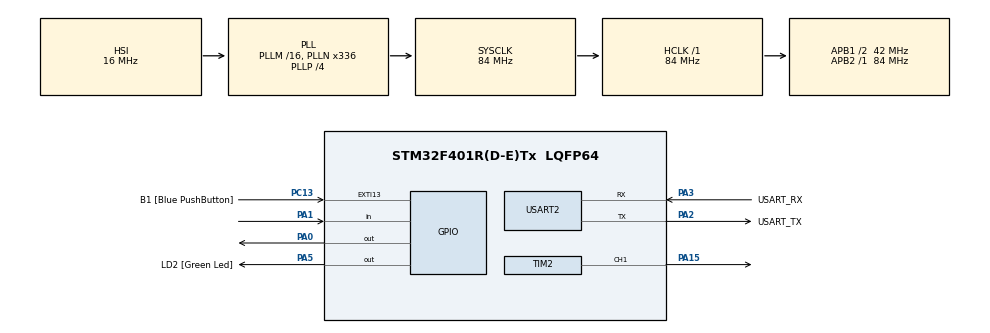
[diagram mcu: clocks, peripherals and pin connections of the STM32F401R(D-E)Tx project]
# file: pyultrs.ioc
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Mcu.Family=STM32F4
Mcu.Name=STM32F401R(D-E)Tx
Mcu.Package=LQFP64
NVIC.PriorityGroup=NVIC_PRIORITYGROUP_0
NVIC.TIM2_IRQn=true\:0\:0\:false\:false\:true\:true\:true\:true
PA0-WKUP.Signal=GPIO_Output
PA1.Signal=GPIO_Input
PA13.GPIO_Label=TMS
PA13.Mode=Serial_Wire
PA13.Signal=SYS_JTMS-SWDIO
PA14.GPIO_Label=TCK
PA14.Mode=Serial_Wire
PA14.Signal=SYS_JTCK-SWCLK
PA15.Signal=S_TIM2_CH1_ETR
PA2.GPIO_Label=USART_TX
PA2.GPIO_Mode=GPIO_MODE_AF_PP
PA2.GPIO_PuPd=GPIO_NOPULL
PA2.GPIO_Speed=GPIO_SPEED_FREQ_LOW
PA2.Mode=Asynchronous
PA2.Signal=USART2_TX
PA3.GPIO_Label=USART_RX
PA3.GPIO_Mode=GPIO_MODE_AF_PP
PA3.GPIO_PuPd=GPIO_NOPULL
PA3.GPIO_Speed=GPIO_SPEED_FREQ_LOW
PA3.Mode=Asynchronous
PA3.Signal=USART2_RX
PA5.GPIO_Label=LD2 [Green Led]
PA5.GPIO_Mode=GPIO_MODE_OUTPUT_PP
PA5.GPIO_PuPd=GPIO_NOPULL
PA5.GPIO_Speed=GPIO_SPEED_FREQ_LOW
PA5.Signal=GPIO_Output
PB3.GPIO_Label=SWO
PB3.Signal=SYS_JTDO-SWO
PC13-ANTI_TAMP.GPIO_Label=B1 [Blue PushButton]
PC13-ANTI_TAMP.GPIO_ModeDefaultEXTI=GPIO_MODE_IT_FALLING
PC13-ANTI_TAMP.GPIO_PuPd=GPIO_NOPULL
PC13-ANTI_TAMP.Signal=GPXTI13
PC14-OSC32_IN.Mode=LSE-External-Oscillator
PC14-OSC32_IN.Signal=RCC_OSC32_IN
PC15-OSC32_OUT.Mode=LSE-External-Oscillator
PC15-OSC32_OUT.Signal=RCC_OSC32_OUT
PH0\ -\ OSC_IN.Mode=HSE-External-Clock-Source
PH0\ -\ OSC_IN.Signal=RCC_OSC_IN
PH1\ -\ OSC_OUT.Mode=HSE-External-Clock-Source
PH1\ -\ OSC_OUT.Signal=RCC_OSC_OUT
ProjectManager.HeapSize=0x200
ProjectManager.StackSize=0x400
ProjectManager.TargetToolchain=STM32CubeIDE
RCC.48MHZClocksFreq_Value=48000000
RCC.AHBFreq_Value=84000000
RCC.APB1CLKDivider=RCC_HCLK_DIV2
RCC.APB1Freq_Value=42000000
RCC.APB1TimFreq_Value=84000000
RCC.APB2Freq_Value=84000000
RCC.APB2TimFreq_Value=84000000
RCC.CortexFreq_Value=84000000
RCC.HCLKFreq_Value=84000000
RCC.HSE_VALUE=8000000
RCC.HSI_VALUE=16000000
RCC.PLLN=336
RCC.PLLP=RCC_PLLP_DIV4
RCC.PLLQ=7
RCC.SYSCLKFreq_VALUE=84000000
RCC.SYSCLKSource=RCC_SYSCLKSOURCE_PLLCLK
RCC.VCOOutputFreq_Value=336000000
SH.S_TIM2_CH1_ETR.0=TIM2_CH1,Output Compare1 CH1
TIM2.Channel-Output\ Compare1\ CH1=TIM_CHANNEL_1
TIM2.Prescaler=83
USART2.VirtualMode=VM_ASYNC
VP_TIM2_VS_ClockSourceINT.Mode=Internal
board=NUCLEO-F401RE

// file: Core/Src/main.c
/* USER CODE BEGIN Header */
/**
  ******************************************************************************
  * @file           : main.c
  * @brief          : Main program body
  ******************************************************************************
  * @attention
  *
  * Copyright (c) 2025 STMicroelectronics.
  * All rights reserved.
  *
  * This software is licensed under terms that can be found in the LICENSE file
  * in the root directory of this software component.
  * If no LICENSE file comes with this software, it is provided AS-IS.
  *
  ******************************************************************************
  */
/* USER CODE END Header */
#include "main.h"

TIM_HandleTypeDef htim2;

UART_HandleTypeDef huart2;

/* USER CODE BEGIN PV */
#define TRIG_PIN GPIO_PIN_0
#define TRIG_PORT GPIOA
#define ECHO_PIN GPIO_PIN_1
#define ECHO_PORT GPIOA
uint32_t distance_cm = 0;
uint32_t echo_start, echo_end;
/* USER CODE END PV */

void SystemClock_Config(void);
static void MX_GPIO_Init(void);
static void MX_USART2_UART_Init(void);
static void MX_TIM2_Init(void);
/* USER CODE BEGIN PFP */
void delay_us(uint16_t us) {
    __HAL_TIM_SET_COUNTER(&htim2, 0);
    while (__HAL_TIM_GET_COUNTER(&htim2) < us);
}
/* USER CODE END PFP */

/* USER CODE BEGIN 0 */
uint32_t get_distance() {
    // Send 10us trigger pulse
    HAL_GPIO_WritePin(TRIG_PORT, TRIG_PIN, GPIO_PIN_SET);
    delay_us(10);
    HAL_GPIO_WritePin(TRIG_PORT, TRIG_PIN, GPIO_PIN_RESET);

    // Wait for echo start
    uint32_t timeout = 30000; // ~30ms max wait
    while (HAL_GPIO_ReadPin(ECHO_PORT, ECHO_PIN) == GPIO_PIN_RESET && timeout--);
    echo_start = __HAL_TIM_GET_COUNTER(&htim2);

    timeout = 30000;
    while (HAL_GPIO_ReadPin(ECHO_PORT, ECHO_PIN) == GPIO_PIN_SET && timeout--);
    echo_end = __HAL_TIM_GET_COUNTER(&htim2);

    // Pulse width in microseconds
    uint32_t pulse_duration = echo_end - echo_start;

    // Distance in cm (speed of sound ~343 m/s)
    uint32_t distance = (pulse_duration * 0.0343) / 2;

    return distance;
}

/* USER CODE END 0 */

int main(void)
{

  /* MCU Configuration--------------------------------------------------------*/

  /* Reset of all peripherals, Initializes the Flash interface and the Systick. */
  HAL_Init();

  /* Configure the system clock */
  SystemClock_Config();

  /* Initialize all configured peripherals */
  MX_GPIO_Init();
  MX_USART2_UART_Init();
  MX_TIM2_Init();
  HAL_TIM_Base_Start(&htim2);

  /* USER CODE BEGIN 2 */
  char buffer[30];
  /* USER CODE END 2 */

  /* Infinite loop */
  while (1)
  {

    /* USER CODE BEGIN 3 */
	  uint32_t distance = get_distance();

	     sprintf(buffer, "%lu\n", distance);
	     HAL_UART_Transmit(&huart2, (uint8_t*)buffer, strlen(buffer), HAL_MAX_DELAY);

	     distance_cm = distance;  // keep latest value

	     HAL_Delay(100);  // 10 Hz sampling
  }
  /* USER CODE END 3 */
}

void SystemClock_Config(void)
{
  RCC_OscInitTypeDef RCC_OscInitStruct = {0};
  RCC_ClkInitTypeDef RCC_ClkInitStruct = {0};

  /** Configure the main internal regulator output voltage
  */
  __HAL_RCC_PWR_CLK_ENABLE();
  __HAL_PWR_VOLTAGESCALING_CONFIG(PWR_REGULATOR_VOLTAGE_SCALE2);

  /** Initializes the RCC Oscillators according to the specified parameters
  * in the RCC_OscInitTypeDef structure.
  */
  RCC_OscInitStruct.OscillatorType = RCC_OSCILLATORTYPE_HSI;
  RCC_OscInitStruct.HSIState = RCC_HSI_ON;
  RCC_OscInitStruct.HSICalibrationValue = RCC_HSICALIBRATION_DEFAULT;
  RCC_OscInitStruct.PLL.PLLState = RCC_PLL_ON;
  RCC_OscInitStruct.PLL.PLLSource = RCC_PLLSOURCE_HSI;
  RCC_OscInitStruct.PLL.PLLM = 16;
  RCC_OscInitStruct.PLL.PLLN = 336;
  RCC_OscInitStruct.PLL.PLLP = RCC_PLLP_DIV4;
  RCC_OscInitStruct.PLL.PLLQ = 7;
  if (HAL_RCC_OscConfig(&RCC_OscInitStruct) != HAL_OK)
  {
    Error_Handler();
  }

  /** Initializes the CPU, AHB and APB buses clocks
  */
  RCC_ClkInitStruct.ClockType = RCC_CLOCKTYPE_HCLK|RCC_CLOCKTYPE_SYSCLK
                              |RCC_CLOCKTYPE_PCLK1|RCC_CLOCKTYPE_PCLK2;
  RCC_ClkInitStruct.SYSCLKSource = RCC_SYSCLKSOURCE_PLLCLK;
  RCC_ClkInitStruct.AHBCLKDivider = RCC_SYSCLK_DIV1;
  RCC_ClkInitStruct.APB1CLKDivider = RCC_HCLK_DIV2;
  RCC_ClkInitStruct.APB2CLKDivider = RCC_HCLK_DIV1;

  if (HAL_RCC_ClockConfig(&RCC_ClkInitStruct, FLASH_LATENCY_2) != HAL_OK)
  {
    Error_Handler();
  }
}

static void MX_TIM2_Init(void)
{

  TIM_ClockConfigTypeDef sClockSourceConfig = {0};
  TIM_MasterConfigTypeDef sMasterConfig = {0};
  TIM_OC_InitTypeDef sConfigOC = {0};

  htim2.Instance = TIM2;
  htim2.Init.Prescaler = 83;
  htim2.Init.CounterMode = TIM_COUNTERMODE_UP;
  htim2.Init.Period = 4294967295;
  htim2.Init.ClockDivision = TIM_CLOCKDIVISION_DIV1;
  htim2.Init.AutoReloadPreload = TIM_AUTORELOAD_PRELOAD_DISABLE;
  if (HAL_TIM_Base_Init(&htim2) != HAL_OK)
  {
    Error_Handler();
  }
  sClockSourceConfig.ClockSource = TIM_CLOCKSOURCE_INTERNAL;
  if (HAL_TIM_ConfigClockSource(&htim2, &sClockSourceConfig) != HAL_OK)
  {
    Error_Handler();
  }
  if (HAL_TIM_OC_Init(&htim2) != HAL_OK)
  {
    Error_Handler();
  }
  sMasterConfig.MasterOutputTrigger = TIM_TRGO_RESET;
  sMasterConfig.MasterSlaveMode = TIM_MASTERSLAVEMODE_DISABLE;
  if (HAL_TIMEx_MasterConfigSynchronization(&htim2, &sMasterConfig) != HAL_OK)
  {
    Error_Handler();
  }
  sConfigOC.OCMode = TIM_OCMODE_TIMING;
  sConfigOC.Pulse = 0;
  sConfigOC.OCPolarity = TIM_OCPOLARITY_HIGH;
  sConfigOC.OCFastMode = TIM_OCFAST_DISABLE;
  if (HAL_TIM_OC_ConfigChannel(&htim2, &sConfigOC, TIM_CHANNEL_1) != HAL_OK)
  {
    Error_Handler();
  }
  HAL_TIM_MspPostInit(&htim2);

}

static void MX_USART2_UART_Init(void)
{

  huart2.Instance = USART2;
  huart2.Init.BaudRate = 115200;
  huart2.Init.WordLength = UART_WORDLENGTH_8B;
  huart2.Init.StopBits = UART_STOPBITS_1;
  huart2.Init.Parity = UART_PARITY_NONE;
  huart2.Init.Mode = UART_MODE_TX_RX;
  huart2.Init.HwFlowCtl = UART_HWCONTROL_NONE;
  huart2.Init.OverSampling = UART_OVERSAMPLING_16;
  if (HAL_UART_Init(&huart2) != HAL_OK)
  {
    Error_Handler();
  }

}

static void MX_GPIO_Init(void)
{
  GPIO_InitTypeDef GPIO_InitStruct = {0};

  /* GPIO Ports Clock Enable */
  __HAL_RCC_GPIOC_CLK_ENABLE();
  __HAL_RCC_GPIOH_CLK_ENABLE();
  __HAL_RCC_GPIOA_CLK_ENABLE();
  __HAL_RCC_GPIOB_CLK_ENABLE();

  /*Configure GPIO pin Output Level */
  HAL_GPIO_WritePin(GPIOA, GPIO_PIN_0|LD2_Pin, GPIO_PIN_RESET);

  /*Configure GPIO pin : B1_Pin */
  GPIO_InitStruct.Pin = B1_Pin;
  GPIO_InitStruct.Mode = GPIO_MODE_IT_FALLING;
  GPIO_InitStruct.Pull = GPIO_NOPULL;
  HAL_GPIO_Init(B1_GPIO_Port, &GPIO_InitStruct);

  /*Configure GPIO pins : PA0 LD2_Pin */
  GPIO_InitStruct.Pin = GPIO_PIN_0|LD2_Pin;
  GPIO_InitStruct.Mode = GPIO_MODE_OUTPUT_PP;
  GPIO_InitStruct.Pull = GPIO_NOPULL;
  GPIO_InitStruct.Speed = GPIO_SPEED_FREQ_LOW;
  HAL_GPIO_Init(GPIOA, &GPIO_InitStruct);

  /*Configure GPIO pin : PA1 */
  GPIO_InitStruct.Pin = GPIO_PIN_1;
  GPIO_InitStruct.Mode = GPIO_MODE_INPUT;
  GPIO_InitStruct.Pull = GPIO_NOPULL;
  HAL_GPIO_Init(GPIOA, &GPIO_InitStruct);

}

void Error_Handler(void)
{
  __disable_irq();
  while (1)
  {
  }
}
